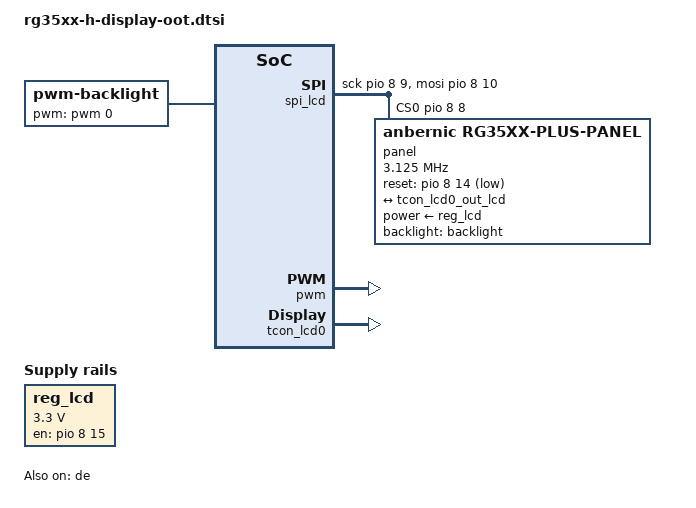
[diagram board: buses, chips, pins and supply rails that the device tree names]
// SPDX-License-Identifier: (GPL-2.0-only OR BSD-2-Clause)
/*
 * RG35XX-H display pipeline (out-of-tree). Master copy — mirrored verbatim
 * into the kernel tree by platform/rg35xx-h/kernel/patches/0005 (keep in sync).
 *
 * Pipeline: DE33 -> mixer0 -> TCON TOP -> TCON LCD0 -> RGB panel (NV3052C).
 * Panel wiring (SPI bitbang + reset + LCD regulator) follows Ryan Walklin's
 * lore series "h616: add LCD timing controller and display engine support"
 * (2025-02-16, 8 patches), Tested-by Philippe Simons on RG35XX-H, with two
 * Squeezebox deviations, both HW-gated:
 *  1. Backlight is pwm-backlight on PWM0/PD28 (brightness control per the HAL
 *     contract) instead of the series' gpio-backlight interim. Period 50 us
 *     (20 kHz) and polarity are first-boot validation items.
 *  2. Nodes live in this -H-only include instead of the shared -2024 DTS, so
 *     Plus/SP DTBs stay pristine until their wiring is proven on hardware.
 *
 * Panel: WL-355608-A8 class (NV3052C controller, SPI init + RGB data),
 * driven by in-tree panel-newvision-nv3052c.c ("anbernic,rg35xx-plus-panel",
 * kikuchan98's Rev6 entry). No OOT panel driver needed at linux v7.3.4.
 *
 * SoC nodes (&de, &mixer0, &tcon_top, &tcon_lcd0, &pwm, pinctrl) come from
 * kernel patch 0004. Include order: -H.dts -> -plus -> -2024 -> h616.dtsi ->
 * this file (included at the END of the -H.dts include chain so that all
 * labels exist before use).
 */

#include <dt-bindings/gpio/gpio.h>

/ {
	backlight: backlight {
		compatible = "pwm-backlight";
		/* PWM0 on PD28. 50000 ns = 20 kHz. HW gate: if the panel
		 * stays dark or inverted, try polarity <1> (inverted) and
		 * 41700 ns; see BRINGUP_PANEL.md. GPIO fallback (proven by
		 * Ryan/Philippe): compatible = "gpio-backlight";
		 * gpios = <&pio 3 28 GPIO_ACTIVE_HIGH>; default-on; */
		pwms = <&pwm 0 50000 0>;
	};

	reg_lcd: regulator-gpio-lcd-vdd {
		compatible = "regulator-fixed";
		regulator-min-microvolt = <3300000>;
		regulator-max-microvolt = <3300000>;
		regulator-name = "vdd-lcd";
		gpio = <&pio 8 15 GPIO_ACTIVE_HIGH>; /* PI15 */
		enable-active-high;
	};

	spi_lcd: spi {
		compatible = "spi-gpio";
		#address-cells = <1>;
		#size-cells = <0>;

		sck-gpios = <&pio 8 9 GPIO_ACTIVE_HIGH>; /* PI9 */
		mosi-gpios = <&pio 8 10 GPIO_ACTIVE_HIGH>; /* PI10 */
		cs-gpios = <&pio 8 8 GPIO_ACTIVE_HIGH>; /* PI8 */
		num-chipselects = <1>;

		panel: panel@0 {
			compatible = "anbernic,rg35xx-plus-panel";

			reg = <0>;

			spi-max-frequency = <3125000>;
			spi-3wire;

			reset-gpios = <&pio 8 14 GPIO_ACTIVE_LOW>; /* PI14 */

			backlight = <&backlight>;
			power-supply = <&reg_lcd>;

			pinctrl-0 = <&lcd0_rgb888_pins>;
			pinctrl-names = "default";

			port {
				panel_in_rgb: endpoint {
					remote-endpoint = <&tcon_lcd0_out_lcd>;
				};
			};
		};
	};
};

&de {
	status = "okay";
};

&pio {
	vcc-pd-supply = <&reg_cldo3>;
};

&pwm {
	pinctrl-0 = <&pwm0_pin>;
	pinctrl-names = "default";
	status = "okay";
};

&tcon_lcd0 {
	status = "okay";
};

&tcon_lcd0_out {
	tcon_lcd0_out_lcd: endpoint@1 {
		reg = <1>;
		remote-endpoint = <&panel_in_rgb>;
	};
};
